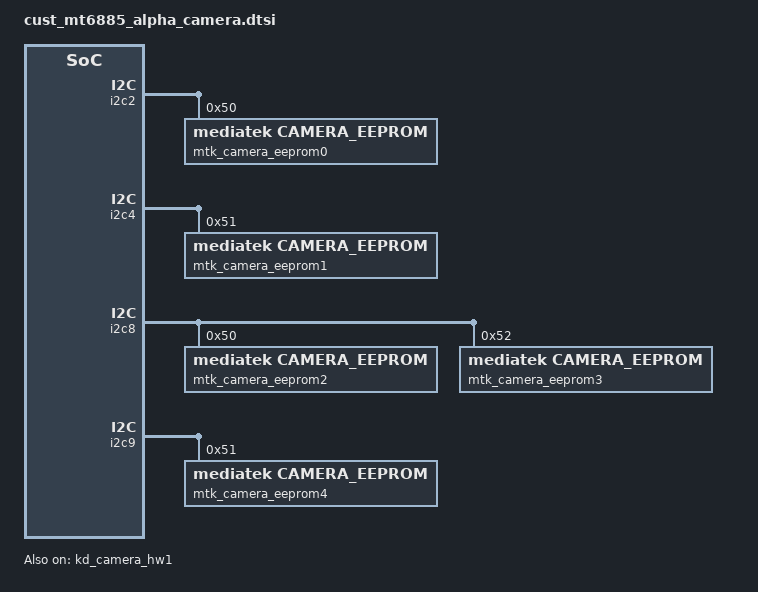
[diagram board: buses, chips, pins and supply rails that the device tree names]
/*
 * Copyright (c) 2019 MediaTek Inc.
 *
 * This program is free software; you can redistribute it and/or modify
 * it under the terms of the GNU General Public License version 2 as
 * published by the Free Software Foundation.
 *
 * This program is distributed in the hope that it will be useful,
 * but WITHOUT ANY WARRANTY; without even the implied warranty of
 * MERCHANTABILITY or FITNESS FOR A PARTICULAR PURPOSE.  See the
 * GNU General Public License for more details.
 */

/* CAMERA GPIO standardization */
&pio {
	camera0_rst_low: camera0_rst_output_low@gpio144 {
		pins_cmd_dat {
			pinmux = <PINMUX_GPIO144__FUNC_GPIO144>;
			output-low;
		};
	};
	camera0_rst_high: camera0_rst_output_high@gpio144 {
		pins_cmd_dat {
			pinmux = <PINMUX_GPIO144__FUNC_GPIO144>;
			output-high;
		};
	};
	camera0_pdn_low: camera0_pdn_output_low {
		pins_cmd_dat1 {
			pinmux = <PINMUX_GPIO133__FUNC_GPIO133>;
			output-low;
		};
		pins_cmd_dat2 {
			pinmux = <PINMUX_GPIO135__FUNC_GPIO135>;
			output-low;
		};
	};
	camera0_pdn_high: camera0_pdn_output_high {
		pins_cmd_dat1 {
			pinmux = <PINMUX_GPIO133__FUNC_GPIO133>;
			output-high;
		};
		pins_cmd_dat2 {
			pinmux = <PINMUX_GPIO135__FUNC_GPIO135>;
			output-high;
		};
	};
	camera1_rst_low: camera1_rst_output_low@gpio143 {
		pins_cmd_dat {
			pinmux = <PINMUX_GPIO143__FUNC_GPIO143>;
			output-low;
		};
	};
	camera1_rst_high: camera1_rst_output_high@gpio143 {
		pins_cmd_dat {
			pinmux = <PINMUX_GPIO143__FUNC_GPIO143>;
			output-high;
		};
	};
	camera1_pdn_low: camera1_pdn_output_low@gpio147 {
		pins_cmd_dat {
			pinmux = <PINMUX_GPIO147__FUNC_GPIO147>;
			output-low;
		};
	};
	camera1_pdn_high: camera1_pdn_output_high@gpio147 {
		pins_cmd_dat {
			pinmux = <PINMUX_GPIO147__FUNC_GPIO147>;
			output-high;
		};
	};
	camera2_rst_low: camera2_rst_output_low@gpio145 {
		pins_cmd_dat {
			pinmux = <PINMUX_GPIO145__FUNC_GPIO145>;
			output-low;
		};
	};
	camera2_rst_high: camera2_rst_output_high@gpio145 {
		pins_cmd_dat {
			pinmux = <PINMUX_GPIO145__FUNC_GPIO145>;
			output-high;
		};
	};
	camera2_pdn_low: camera2_pdn_output_low@gpio146 {
		pins_cmd_dat {
			pinmux = <PINMUX_GPIO146__FUNC_GPIO146>;
			output-low;
		};
	};
	camera2_pdn_high: camera2_pdn_output_high@gpio146 {
		pins_cmd_dat {
			pinmux = <PINMUX_GPIO146__FUNC_GPIO146>;
			output-high;
		};
	};
	camera3_rst_low: camera3_rst_output_low@gpio130 {
		pins_cmd_dat {
			pinmux = <PINMUX_GPIO130__FUNC_GPIO130>;
			output-low;
		};
	};
	camera3_rst_high: camera3_rst_output_high@gpio130 {
		pins_cmd_dat {
			pinmux = <PINMUX_GPIO130__FUNC_GPIO130>;
			output-high;
		};
	};
	camera3_pdn_low: camera3_pdn_output_low@gpio148 {
		pins_cmd_dat {
			pinmux = <PINMUX_GPIO148__FUNC_GPIO148>;
			output-low;
		};
	};
	camera3_pdn_high: camera3_pdn_output_high@gpio148 {
		pins_cmd_dat {
			pinmux = <PINMUX_GPIO148__FUNC_GPIO148>;
			output-high;
		};
	};
	camera4_rst_low: camera4_rst_output_low@gpio131 {
		pins_cmd_dat {
			pinmux = <PINMUX_GPIO131__FUNC_GPIO131>;
			output-low;
		};
	};
	camera4_rst_high: camera4_rst_output_high@gpio131 {
		pins_cmd_dat {
			pinmux = <PINMUX_GPIO131__FUNC_GPIO131>;
			output-high;
		};
	};
	camera4_pdn_low: camera4_pdn_output_low@gpio148 {
		pins_cmd_dat {
			pinmux = <PINMUX_GPIO148__FUNC_GPIO148>;
			output-low;
		};
	};
	camera4_pdn_high: camera4_pdn_output_high@gpio148 {
		pins_cmd_dat {
			pinmux = <PINMUX_GPIO148__FUNC_GPIO148>;
			output-high;
		};
	};
	camera0_vcama_off: camera0_vcama_off {
		pins_cmd1_dat {
			pinmux = <PINMUX_GPIO133__FUNC_GPIO133>;
			output-low;
		};
		pins_cmd2_dat {
			pinmux = <PINMUX_GPIO135__FUNC_GPIO135>;
			output-low;
		};
	};
	camera0_vcama_on: camera0_vcama_on {
		pins_cmd1_dat {
			pinmux = <PINMUX_GPIO133__FUNC_GPIO133>;
			output-high;
		};
		pins_cmd2_dat {
			pinmux = <PINMUX_GPIO135__FUNC_GPIO135>;
			output-high;
		};
	};
	camera0_vcamd_off: camera0_vcamd_output_low@gpio147 {
		pins_cmd_dat {
			pinmux = <PINMUX_GPIO147__FUNC_GPIO147>;
			slew-rate = <1>;
			output-low;
		};
	};
	camera0_vcamd_on: camera0_vcamd_output_high@gpio147 {
		pins_cmd_dat {
			pinmux = <PINMUX_GPIO147__FUNC_GPIO147>;
			output-high;
		};
	};
	camera1_vcama_off: camera1_vcama_output_low@gpio8 {
		pins_cmd_dat {
			pinmux = <PINMUX_GPIO8__FUNC_GPIO8>;
			output-low;
		};
	};
	camera1_vcama_on: camera1_vcama_output_high@gpio8 {
		pins_cmd_dat {
			pinmux = <PINMUX_GPIO8__FUNC_GPIO8>;
			output-high;
		};
	};
	camera1_vcamd_off: camera1_vcamd_output_low@gpio147 {
		pins_cmd_dat {
			pinmux = <PINMUX_GPIO147__FUNC_GPIO147>;
			slew-rate = <1>;
			output-low;
		};
	};
	camera1_vcamd_on: camera1_vcamd_output_high@gpio147 {
		pins_cmd_dat {
			pinmux = <PINMUX_GPIO147__FUNC_GPIO147>;
			output-high;
		};
	};
	camera2_vcama_off: camera2_vcama_output_low@gpio148 {
		pins_cmd_dat {
			pinmux = <PINMUX_GPIO148__FUNC_GPIO148>;
			output-low;
		};
	};
	camera2_vcama_on: camera2_vcama_output_high@gpio148 {
		pins_cmd_dat {
			pinmux = <PINMUX_GPIO148__FUNC_GPIO148>;
			output-high;
		};
	};
	camera2_vcamd_off: camera2_vcamd_output_low@gpio146 {
		pins_cmd_dat {
			pinmux = <PINMUX_GPIO146__FUNC_GPIO146>;
			output-low;
		};
	};
	camera2_vcamd_on: camera2_vcamd_output_high@gpio146 {
		pins_cmd_dat {
			pinmux = <PINMUX_GPIO146__FUNC_GPIO146>;
			output-high;
		};
	};
	camera3_vcama_off: camera3_vcama_output_low@gpio148 {
		pins_cmd_dat {
			pinmux = <PINMUX_GPIO148__FUNC_GPIO148>;
			output-low;
		};
	};
	camera3_vcama_on: camera3_vcama_output_hgigh@gpio148 {
		pins_cmd_dat {
			pinmux = <PINMUX_GPIO148__FUNC_GPIO148>;
			output-high;
		};
	};
	camera3_vcamd_off: camera3_vcamd_output_low@gpio146 {
		pins_cmd_dat {
			pinmux = <PINMUX_GPIO146__FUNC_GPIO146>;
			slew-rate = <1>;
			output-low;
		};
	};
	camera3_vcamd_on: camera3_vcamd_output_high@gpio146 {
		pins_cmd_dat {
			pinmux = <PINMUX_GPIO146__FUNC_GPIO146>;
			output-high;
		};
	};
	camera4_vcama_off: camera4_vcama_output_low@gpio148 {
		pins_cmd_dat {
			pinmux = <PINMUX_GPIO148__FUNC_GPIO148>;
			output-low;
		};
	};
	camera4_vcama_on: camera4_vcama_output_high@gpio148 {
		pins_cmd_dat {
			pinmux = <PINMUX_GPIO148__FUNC_GPIO148>;
			output-high;
		};
	};
	camera4_vcamd_off: camera4_vcamd_output_low@gpio146 {
		pins_cmd_dat {
			pinmux = <PINMUX_GPIO146__FUNC_GPIO146>;
			output-low;
		};
	};
	camera4_vcamd_on: camera4_vcamd_output_high@gpio146 {
		pins_cmd_dat {
			pinmux = <PINMUX_GPIO146__FUNC_GPIO146>;
			output-high;
		};
	};

	camera0_mclk_2ma: camera0_mclk_2ma@gpio150 {
		pins_cmd_dat {
			pinmux = <PINMUX_GPIO150__FUNC_CMMCLK1>;
			drive-strength = <0>;
		};
	};
	camera0_mclk_4ma: camera0_mclk_4ma@gpio150 {
		pins_cmd_dat {
			pinmux = <PINMUX_GPIO150__FUNC_CMMCLK1>;
			drive-strength = <1>;
		};
	};
	camera0_mclk_6ma: camera0_mclk_6ma@gpio150 {
		pins_cmd_dat {
			pinmux = <PINMUX_GPIO150__FUNC_CMMCLK1>;
			drive-strength = <2>;
		};
	};
	camera0_mclk_8ma: camera0_mclk_8ma@gpio150 {
		pins_cmd_dat {
			pinmux = <PINMUX_GPIO150__FUNC_CMMCLK1>;
			drive-strength = <3>;
		};
	};
	camera0_mclk_off: camera0_mclk_gpio_mode@gpio150 {
		pins_cmd_dat {
			pinmux = <PINMUX_GPIO150__FUNC_GPIO150>;
			drive-strength = <1>;
		};
	};
	camera1_mclk_2ma: camera1_mclk_2ma@gpio149 {
		pins_cmd_dat {
			pinmux = <PINMUX_GPIO149__FUNC_CMMCLK0>;
			drive-strength = <0>;
		};
	};
	camera1_mclk_4ma: camera1_mclk_4ma@gpio149 {
		pins_cmd_dat {
			pinmux = <PINMUX_GPIO149__FUNC_CMMCLK0>;
			drive-strength = <1>;
		};
	};
	camera1_mclk_6ma: camera1_mclk_6ma@gpio149 {
		pins_cmd_dat {
			pinmux = <PINMUX_GPIO149__FUNC_CMMCLK0>;
			drive-strength = <2>;
		};
	};
	camera1_mclk_8ma: camera1_mclk_8ma@gpio149 {
		pins_cmd_dat {
			pinmux = <PINMUX_GPIO149__FUNC_CMMCLK0>;
			drive-strength = <3>;
		};
	};
	camera1_mclk_off: camera1_mclk_gpio_mode@gpio149 {
		pins_cmd_dat {
			pinmux = <PINMUX_GPIO149__FUNC_GPIO149>;
			drive-strength = <1>;
		};
	};
	camera2_mclk_2ma: camera2_mclk_2ma@gpio151 {
		pins_cmd_dat {
			pinmux = <PINMUX_GPIO151__FUNC_CMMCLK2>;
			drive-strength = <0>;
		};
	};
	camera2_mclk_4ma: camera2_mclk_4ma@gpio151 {
		pins_cmd_dat {
			pinmux = <PINMUX_GPIO151__FUNC_CMMCLK2>;
			drive-strength = <1>;
		};
	};
	camera2_mclk_6ma: camera2_mclk_6ma@gpio151 {
		pins_cmd_dat {
			pinmux = <PINMUX_GPIO151__FUNC_CMMCLK2>;
			drive-strength = <2>;
		};
	};
	camera2_mclk_8ma: camera2_mclk_8ma@gpio151 {
		pins_cmd_dat {
			pinmux = <PINMUX_GPIO151__FUNC_CMMCLK2>;
			drive-strength = <3>;
		};
	};
	camera2_mclk_off: camera2_mclk_gpio_mode@gpio151 {
		pins_cmd_dat {
			pinmux = <PINMUX_GPIO151__FUNC_GPIO151>;
			drive-strength = <1>;
		};
	};
	camera3_mclk_2ma: camera3_mclk_2ma@gpio136 {
		pins_cmd_dat {
			pinmux = <PINMUX_GPIO136__FUNC_CMMCLK3>;
			drive-strength = <0>;
		};
	};
	camera3_mclk_4ma: camera3_mclk_4ma@gpio136 {
		pins_cmd_dat {
			pinmux = <PINMUX_GPIO136__FUNC_CMMCLK3>;
			drive-strength = <1>;
		};
	};
	camera3_mclk_6ma: camera3_mclk_6ma@gpio136 {
		pins_cmd_dat {
			pinmux = <PINMUX_GPIO136__FUNC_CMMCLK3>;
			drive-strength = <2>;
		};
	};
	camera3_mclk_8ma: camera3_mclk_8ma@gpio136 {
		pins_cmd_dat {
			pinmux = <PINMUX_GPIO136__FUNC_CMMCLK3>;
			drive-strength = <3>;
		};
	};
	camera3_mclk_off: camera3_mclk_gpio_mode@gpio136 {
		pins_cmd_dat {
			pinmux = <PINMUX_GPIO136__FUNC_GPIO136>;
			drive-strength = <1>;
		};
	};
	camera4_mclk_2ma: camera4_mclk_2ma@gpio137 {
		pins_cmd_dat {
			pinmux = <PINMUX_GPIO137__FUNC_CMMCLK4>;
			drive-strength = <0>;
		};
	};
	camera4_mclk_4ma: camera4_mclk_4ma@gpio137 {
		pins_cmd_dat {
			pinmux = <PINMUX_GPIO137__FUNC_CMMCLK4>;
			drive-strength = <1>;
		};
	};
	camera4_mclk_6ma: camera4_mclk_6ma@gpio137 {
		pins_cmd_dat {
			pinmux = <PINMUX_GPIO137__FUNC_CMMCLK4>;
			drive-strength = <2>;
		};
	};
	camera4_mclk_8ma: camera4_mclk_8ma@gpio137 {
		pins_cmd_dat {
			pinmux = <PINMUX_GPIO137__FUNC_CMMCLK4>;
			drive-strength = <3>;
		};
	};
	camera4_mclk_off: camera4_mclk_gpio_mode@gpio137 {
		pins_cmd_dat {
			pinmux = <PINMUX_GPIO137__FUNC_GPIO137>;
			drive-strength = <1>;
		};
	};
	camera_pins_default: camdefault {
	};
};
&kd_camera_hw1 {
	pinctrl-names = "default",
			"cam0_rst0", "cam0_rst1",
			"cam0_pnd0", "cam0_pnd1",
			"cam1_rst0", "cam1_rst1",
			"cam1_pnd0", "cam1_pnd1",
			"cam2_rst0", "cam2_rst1",
			"cam2_pnd0", "cam2_pnd1",
			"cam3_rst0", "cam3_rst1",
			"cam3_pnd0", "cam3_pnd1",
			"cam4_rst0", "cam4_rst1",
			"cam4_pnd0", "cam4_pnd1",
			"cam0_ldo_vcama_0", "cam0_ldo_vcama_1",
			"cam0_ldo_vcamd_0", "cam0_ldo_vcamd_1",
			"cam1_ldo_vcama_0", "cam1_ldo_vcama_1",
			"cam1_ldo_vcamd_0", "cam1_ldo_vcamd_1",
			"cam2_ldo_vcama_0", "cam2_ldo_vcama_1",
			"cam2_ldo_vcamd_0", "cam2_ldo_vcamd_1",
			"cam3_ldo_vcama_0", "cam3_ldo_vcama_1",
			"cam3_ldo_vcamd_0", "cam3_ldo_vcamd_1",
			"cam4_ldo_vcama_0", "cam4_ldo_vcama_1",
			"cam4_ldo_vcamd_0", "cam4_ldo_vcamd_1",
			"cam0_mclk_off",
			"cam0_mclk_2mA", "cam0_mclk_4mA",
			"cam0_mclk_6mA", "cam0_mclk_8mA",
			"cam1_mclk_off",
			"cam1_mclk_2mA", "cam1_mclk_4mA",
			"cam1_mclk_6mA", "cam1_mclk_8mA",
			"cam2_mclk_off",
			"cam2_mclk_2mA", "cam2_mclk_4mA",
			"cam2_mclk_6mA", "cam2_mclk_8mA",
			"cam3_mclk_off",
			"cam3_mclk_2mA", "cam3_mclk_4mA",
			"cam3_mclk_6mA", "cam3_mclk_8mA",
			"cam4_mclk_off",
			"cam4_mclk_2mA", "cam4_mclk_4mA",
			"cam4_mclk_6mA", "cam4_mclk_8mA";
	pinctrl-0 = <&camera_pins_default>;
	pinctrl-1 = <&camera0_rst_low>;
	pinctrl-2 = <&camera0_rst_high>;
	pinctrl-3 = <&camera0_pdn_low>;
	pinctrl-4 = <&camera0_pdn_high>;
	pinctrl-5 = <&camera1_rst_low>;
	pinctrl-6 = <&camera1_rst_high>;
	pinctrl-7 = <&camera1_pdn_low>;
	pinctrl-8 = <&camera1_pdn_high>;
	pinctrl-9 = <&camera2_rst_low>;
	pinctrl-10 = <&camera2_rst_high>;
	pinctrl-11 = <&camera2_pdn_low>;
	pinctrl-12 = <&camera2_pdn_high>;
	pinctrl-13 = <&camera3_rst_low>;
	pinctrl-14 = <&camera3_rst_high>;
	pinctrl-15 = <&camera3_pdn_low>;
	pinctrl-16 = <&camera3_pdn_high>;
	pinctrl-17 = <&camera4_rst_low>;
	pinctrl-18 = <&camera4_rst_high>;
	pinctrl-19 = <&camera4_pdn_low>;
	pinctrl-20 = <&camera4_pdn_high>;
	pinctrl-21 = <&camera0_vcama_off>;
	pinctrl-22 = <&camera0_vcama_on>;
	pinctrl-23 = <&camera0_vcamd_off>;
	pinctrl-24 = <&camera0_vcamd_on>;
	pinctrl-25 = <&camera1_vcama_off>;
	pinctrl-26 = <&camera1_vcama_on>;
	pinctrl-27 = <&camera1_vcamd_off>;
	pinctrl-28 = <&camera1_vcamd_on>;
	pinctrl-29 = <&camera2_vcama_off>;
	pinctrl-30 = <&camera2_vcama_on>;
	pinctrl-31 = <&camera2_vcamd_off>;
	pinctrl-32 = <&camera2_vcamd_on>;
	pinctrl-33 = <&camera3_vcama_off>;
	pinctrl-34 = <&camera3_vcama_on>;
	pinctrl-35 = <&camera3_vcamd_off>;
	pinctrl-36 = <&camera3_vcamd_on>;
	pinctrl-37 = <&camera4_vcama_off>;
	pinctrl-38 = <&camera4_vcama_on>;
	pinctrl-39 = <&camera4_vcamd_off>;
	pinctrl-40 = <&camera4_vcamd_on>;
	pinctrl-41 = <&camera0_mclk_off>;
	pinctrl-42 = <&camera0_mclk_2ma>;
	pinctrl-43 = <&camera0_mclk_4ma>;
	pinctrl-44 = <&camera0_mclk_6ma>;
	pinctrl-45 = <&camera0_mclk_8ma>;
	pinctrl-46 = <&camera1_mclk_off>;
	pinctrl-47 = <&camera1_mclk_2ma>;
	pinctrl-48 = <&camera1_mclk_4ma>;
	pinctrl-49 = <&camera1_mclk_6ma>;
	pinctrl-50 = <&camera1_mclk_8ma>;
	pinctrl-51 = <&camera2_mclk_off>;
	pinctrl-52 = <&camera2_mclk_2ma>;
	pinctrl-53 = <&camera2_mclk_4ma>;
	pinctrl-54 = <&camera2_mclk_6ma>;
	pinctrl-55 = <&camera2_mclk_8ma>;
	pinctrl-56 = <&camera3_mclk_off>;
	pinctrl-57 = <&camera3_mclk_2ma>;
	pinctrl-58 = <&camera3_mclk_4ma>;
	pinctrl-59 = <&camera3_mclk_6ma>;
	pinctrl-60 = <&camera3_mclk_8ma>;
	pinctrl-61 = <&camera4_mclk_off>;
	pinctrl-62 = <&camera4_mclk_2ma>;
	pinctrl-63 = <&camera4_mclk_4ma>;
	pinctrl-64 = <&camera4_mclk_6ma>;
	pinctrl-65 = <&camera4_mclk_8ma>;
	cam0_vcamio-supply = <&mt_pmic_vcamio_ldo_reg>;
	cam1_vcamio-supply = <&mt_pmic_vcamio_ldo_reg>;
	cam2_vcamio-supply = <&mt_pmic_vcamio_ldo_reg>;
	cam3_vcamio-supply = <&mt_pmic_vcamio_ldo_reg>;
	cam4_vcamio-supply = <&mt_pmic_vcamio_ldo_reg>;
	cam0_enable_sensor = "imx686_mipi_raw imx586_mipi_raw";
	cam1_enable_sensor = "s5kgd1sp_mipi_raw imx616_mipi_raw";
	cam2_enable_sensor = "hi846_mipi_raw";
	cam3_enable_sensor = "gc02m0_mipi_raw ov02a10_mipi_mono";
	cam4_enable_sensor = "gc02m0_mipi_raw ov02a10_mipi_mono";

	status = "okay";
};
/* CAMERA GPIO end */

/* CAMERA EEPROM */
&i2c2 {
	mtk_camera_eeprom0:camera_eeprom0@50 {
		compatible = "mediatek,camera_eeprom";
		reg = <0x50>;
		status = "okay";
	};
};
&i2c4 {
	mtk_camera_eeprom1:camera_eeprom1@51 {
		compatible = "mediatek,camera_eeprom";
		reg = <0x51>;
		status = "okay";
	};
};
&i2c8 {
	mtk_camera_eeprom2:camera_eeprom2@50 {
		compatible = "mediatek,camera_eeprom";
		reg = <0x50>;
		status = "okay";
	};
	mtk_camera_eeprom3:camera_eeprom3@52 {
		compatible = "mediatek,camera_eeprom";
		reg = <0x52>;
		status = "okay";
	};
};
&i2c9 {
	mtk_camera_eeprom4:camera_eeprom4@51 {
		compatible = "mediatek,camera_eeprom";
		reg = <0x51>;
		status = "okay";
	};
};
/* CAMERA EEPROM end */
